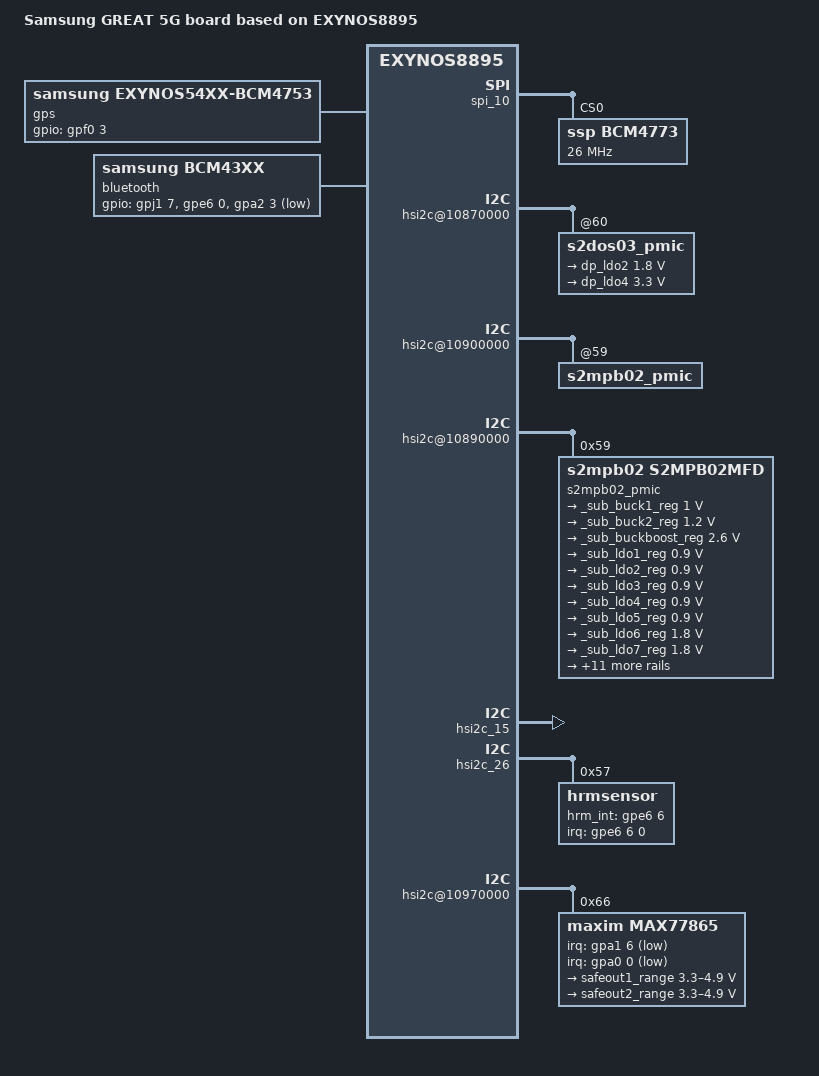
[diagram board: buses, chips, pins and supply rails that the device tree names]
/*
 * SAMSUNG EXYNOS8895 board device tree source
 *
 * Copyright (c) 2016 Samsung Electronics Co., Ltd.
 *		http://www.samsung.com
 *
 * This program is free software; you can redistribute it and/or modify
 * it under the terms of the GNU General Public License version 2 as
 * published by the Free Software Foundation.
 */

/dts-v1/;
#include "exynos8895-great5g_common.dtsi"
#include "battery_data_great5g_common.dtsi"
#include "exynos8895-greatlte_motor.dtsi"
#include "exynos8895-greatlte_svcled.dtsi"
#include "ccic-s2mm005_great_00.dtsi"
#include "exynos8895-greatlte_mst_00.dtsi"
#include "exynos8895-great5g_gpio_kor_00.dtsi"
#include "exynos8895-greatlte_fingerprint-sensor_03.dtsi"

/ {
	model = "Samsung GREAT 5G board based on EXYNOS8895";
	model_info-chip = <8895>;
	model_info-platform = "android";
	model_info-subtype = "samsung";
	model_info-hw_rev = <0>;
	model_info-hw_rev_end = <255>;
	compatible = "samsung, GREAT 5G rev0.0", "samsung,EXYNOS8895";

	pinctrl@164B0000 {
		og_pmic_irq: og-pmic-irq {
			samsung,pins = "gpa3-7";
			samsung,pin-function = <0>;
			samsung,pin-pud = <0>;
			samsung,pin-drv = <0>;
		};
	};

	usi_6: usi@10821010 {
		usi_mode = "hsi2c0_hsi2c1";
		status = "okay";
	};

	spi_8: spi@10880000 {
		/delete-node/ ese_spi@0;
	};

	spi_10: spi@108C0000{
		#address-cells = <1>;
		#size-cells = <0>;

		pinctrl-names = "default";
		pinctrl-0 = <&spi1_mosi_sck_ssn &spi1_miso>;

		num-cs = <1>;
		status = "okay";
/*
 *		dma-mode;
 *		dmas = <&pdma0 21 0
 *			&pdma0 20 0>;
 */
		BCM4773@0 {
			compatible = "ssp,BCM4773";
			reg = <0>;
			spi-max-frequency = <26000000>;
			spi-cpol;
			spi-cpha;
			pinctrl-names = "default";
			pinctrl-0 = <&ssp_host_req &ssp_mcu_req &ssp_mcu_resp &ssp_batch_wake_irq>;

			gpio-controller;
			#gpio-cells = <2>;
			ssp-host-req = <&gpa3 4 0x00>;
			ssp-mcu-req = <&gpe6 1 0x00>;
			ssp-mcu-resp = <&gpi1 5 0x00>;
			ssp-batch-wake-irq = <&gpa2 5 0x00>;
			ssp-acc-position = <3>;
			ssp-mag-position = <6>;
			ssp-sns-combination = <0>;
			ssp-ap-rev = <1>;
			ssp-mag-array = /bits/ 8 <27 86 134 13 37 240 254 130 212 54 239 85 40
			28 1 232 244 104 87 121 186 254 211 133 10 77 149>;
			ssp-glass-type = <0>;
			ssp-mag-type = <1>;
			ssp-vdd-mcu-1p8 = "vdd_mcu_1p8";

			controller-data {
				cs-gpio = <&gpe2 6 0>;
				samsung,spi-feedback-delay = <0>;
			};
		};
	};

	gps {
		compatible = "samsung,exynos54xx-bcm4753";

		pinctrl-names = "hub_en";
		pinctrl-0 = <&ssp_gps_pwr_en>;

		gpios = <&gpf0 3 0x0>;
		status = "okay";
	};

	hsi2c@10870000 {
		status = "okay";
		s2dos03_pmic@60 {
			regulators {
				dp_ldo2: s2dos03-ldo2 {
					regulator-name = "HRM_1.8V_AP";
					regulator-min-microvolt = <1800000>;
					regulator-max-microvolt = <1800000>;
				};
				dp_ldo4: s2dos03-ldo4 {
					regulator-name = "HRM_3.3V_AP";
					regulator-min-microvolt = <3300000>;
					regulator-max-microvolt = <3300000>;
				};
			};
		};
	};

	hsi2c@10900000 {
		s2mpb02_pmic@59 {
			regulators {
				_buck2_reg: s2mpb02-buck2 {
					regulator-always-on;
					regulator-boot-on;
				};
			};
		};
	};

	speedy@15B50000{
		status = "okay";
		s2mps17mfd@00 {
			regulators {
				ldo6_reg: LDO6 {
					regulator-name = "vdd_ldo6";
					regulator-min-microvolt = <3100000>;
					regulator-max-microvolt = <3100000>;
					regulator-ramp-delay = <12000>;
				};

				ldo31_reg: LDO31 {
					regulator-name = "VDD_2P6_MUX";
					regulator-min-microvolt = <2600000>;
					regulator-max-microvolt = <2600000>;
					regulator-always-on;
					regulator-initial-mode = <3>;
				};

				ldo38_reg: LDO38 {
					regulator-name = "vdd_mcu_1p8";
					regulator-min-microvolt = <1800000>;
					regulator-max-microvolt = <1800000>;
				};

				ldo37_reg: LDO37 {
					regulator-name = "VDD_DP_1P8";
					regulator-min-microvolt = <1800000>;
					regulator-max-microvolt = <1800000>;
				};
			};
		};
	};

	hsi2c@10890000 {
		status = "okay";
		s2mpb02_pmic@59 {
			compatible = "s2mpb02,s2mpb02mfd";
			reg = <0x59>;

			s2mpb02,wakeup;
			s2mpb02,mfd-cell = "s2mpb02-5g-pmic";
			pinctrl-names = "default";
			pinctrl-0 = <&og_pmic_irq>;

			regulators {
				_sub_buck1_reg: s2mpb02-buck1 {
					regulator-name = "VDD_LLDO_1P0_5G";
					regulator-min-microvolt = <1000000>;
					regulator-max-microvolt = <1000000>;
					regulator-always-on;
					regulator-boot-on;
				};

				_sub_buck2_reg: s2mpb02-buck2 {
					regulator-name = "VDDQ_DDR_1P2_5G";
					regulator-min-microvolt = <1200000>;
					regulator-max-microvolt = <1200000>;
				};

				_sub_buckboost_reg: s2mpb02-bb {
					regulator-name = "VDD_BOOST_2P6_5G";
					regulator-min-microvolt = <2600000>;
					regulator-max-microvolt = <2600000>;
					regulator-always-on;
					regulator-boot-on;
				};

				_sub_ldo1_reg: s2mpb02-ldo1 {
					regulator-name = "VDDA_0P9_5G";
					regulator-min-microvolt = <900000>;
					regulator-max-microvolt = <900000>;
				};

				_sub_ldo2_reg: s2mpb02-ldo2 {
					regulator-name = "VDD_AFE_0P9_5G_L2";
					regulator-min-microvolt = <900000>;
					regulator-max-microvolt = <900000>;
				};

				_sub_ldo3_reg: s2mpb02-ldo3 {
					regulator-name = "VDD_AFE_0P9_5G_L3";
					regulator-min-microvolt = <900000>;
					regulator-max-microvolt = <900000>;
				};

				_sub_ldo4_reg: s2mpb02-ldo4 {
					regulator-name = "VDD_CPU_M_5G";
					regulator-min-microvolt = <900000>;
					regulator-max-microvolt = <900000>;
				};

				_sub_ldo5_reg: s2mpb02-ldo5 {
					regulator-name = "VDD_PCIE_VP_0P9_5G";
					regulator-min-microvolt = <900000>;
					regulator-max-microvolt = <900000>;
				};

				_sub_ldo6_reg: s2mpb02-ldo6 {
					regulator-name = "S2MPB02_SUB_LDO6_5G";
					regulator-min-microvolt = <1800000>;
					regulator-max-microvolt = <1800000>;
				};

				_sub_ldo7_reg: s2mpb02-ldo7 {
					regulator-name = "S2MPB02_SUB_LDO7_5G";
					regulator-min-microvolt = <1800000>;
					regulator-max-microvolt = <1800000>;
				};

				_sub_ldo8_reg: s2mpb02-ldo8 {
					regulator-name = "S2MPB02_SUB_LDO8_5G";
					regulator-min-microvolt = <1800000>;
					regulator-max-microvolt = <1800000>;
				};

				_sub_ldo9_reg: s2mpb02-ldo9 {
					regulator-name = "S2MPB02_SUB_LDO9_5G";
					regulator-min-microvolt = <1800000>;
					regulator-max-microvolt = <1800000>;
				};

				_sub_ldo10_reg: s2mpb02-ldo10 {
					regulator-name = "S2MPB02_SUB_LDO10_5G";
					regulator-min-microvolt = <1800000>;
					regulator-max-microvolt = <1800000>;
				};

				_sub_ldo11_reg: s2mpb02-ldo11 {
					regulator-name = "VDD_IO_1P8_5G";
					regulator-min-microvolt = <1800000>;
					regulator-max-microvolt = <1800000>;
					regulator-always-on;
					regulator-boot-on;
				};

				_sub_ldo12_reg: s2mpb02-ldo12 {
					regulator-name = "S2MPB02_SUB_LDO12_5G";
					regulator-min-microvolt = <1800000>;
					regulator-max-microvolt = <1800000>;
				};

				_sub_ldo13_reg: s2mpb02-ldo13 {
					regulator-name = "VDD_AFE_1P8_5G";
					regulator-min-microvolt = <1800000>;
					regulator-max-microvolt = <1800000>;
				};

				_sub_ldo14_reg: s2mpb02-ldo14 {
					regulator-name = "VDD_EFUSE_1P98_5G";
					regulator-min-microvolt = <1900000>;
					regulator-max-microvolt = <1900000>;
				};

				_sub_ldo15_reg: s2mpb02-ldo15 {
					regulator-name = "VDDA_1P8_5G";
					regulator-min-microvolt = <1800000>;
					regulator-max-microvolt = <1800000>;
				};

				_sub_ldo16_reg: s2mpb02-ldo16 {
					regulator-name = "VDD_DRAM_1P8_5G";
					regulator-min-microvolt = <1800000>;
					regulator-max-microvolt = <1800000>;
				};

				_sub_ldo17_reg: s2mpb02-ldo17 {
					regulator-name = "VDD_PCIE_VPH_1P8_5G";
					regulator-min-microvolt = <1800000>;
					regulator-max-microvolt = <1800000>;
				};

				_sub_ldo18_reg: s2mpb02-ldo18 {
					regulator-name = "VDD_SIM_5G";
					regulator-min-microvolt = <1800000>;
					regulator-max-microvolt = <1800000>;
				};
			};
		};
	};

	hsi2c_15: hsi2c@10860000 {
		status = "okay";
	};

	hsi2c_26: hsi2c@10910000 {
		status = "okay";
		/delete-node/ sec-nfc@27;
		hrmsensor@57 {
			compatible = "hrmsensor";
			reg = <0x57>;
			interrupt-parent = <&gpe6>;
			interrupts = <6 0 0>;
			hrmsensor,hrm_int-gpio = <&gpe6 6 0>;
			pinctrl-names = "default", "sleep", "idle";
			pinctrl-0 = <&hrm_irq>;
			pinctrl-1 = <&hrm_irqsleep>;
			pinctrl-2 = <&hrm_irqidle>;
			hrmsensor,vdd_1p8 = "HRM_1.8V_AP";
			hrmsensor,led_3p3 = "HRM_3.3V_AP";
			hrmsensor,i2c_1p8 = "VDD_NFC_1P8";
		};
	};

	pinctrl@164B0000 {
		max77865_irq: max77865-irq {
			samsung,pins = "gpa1-6";
			samsung,pin-function = <0xf>;
			samsung,pin-pud = <0>;
			samsung,pin-drv = <0>;
		};

		muic_irq: muic-irq {
			samsung,pins = "gpa0-0";
			samsung,pin-pud = <0>;
			samsung,pin-drv = <0>;
		};
	};

	hsi2c@10970000 {
		status = "okay";

		max77865@66 {
			compatible = "maxim,max77865";
			pinctrl-names = "default";
			pinctrl-0 = <&max77865_irq &muic_irq &pwm_tout1>;
			reg = <0x66>;
			max77865,irq-gpio = <&gpa1 6 1>;
			muic-universal,irq-gpio = <&gpa0 0 1>;
			muic-universal,chip_name = "max,max77865";
			max77865,wakeup;
			muic,undefined_range;

			regulators {
				ESAFEOUT1 {
					regulator-compatible = "safeout1";
					regulator-name = "safeout1_range";
					regulator-min-microvolt = <3300000>;
					regulator-max-microvolt = <4900000>;
					regulator-boot-on;
				};

				ESAFEOUT2 {
					regulator-compatible = "safeout2";
					regulator-name = "safeout2_range";
					regulator-min-microvolt = <3300000>;
					regulator-max-microvolt = <4900000>;
				};
			};
		};
	};

	pinctrl@164B0000 {
		dp_irq: dp_irq {
			samsung,pins = "gpa3-1";
			samsung,pin-function = <3>;
			samsung,pin-pud = <0>;
		};
	};

	/* wacom disabled */
	hsi2c_10: hsi2c@10490000 {
		status = "disabled";
	};

	wacom_ldo_en: wacom_ldo_en {
		status = "disabled";
	};

	pinctrl@10980000 {
		bt_btwake2: bt-btwake2 {
			samsung,pins = "gpe6-0";
			samsung,pin-function = <1>;
			samsung,pin-pud = <0>;
		};
	};

	bluetooth {
		compatible = "samsung,bcm43xx";

		gpios = <&gpj1 7 0	/*BT_EN*/
				&gpe6 0 0	/*BT_WAKE*/
				&gpa2 3 0xF	/*BT_HOST_WAKE*/ >;
		pinctrl-names = "default";
		pinctrl-0=<&bt_hostwake &bt_btwake2 &bt_en>;
		status = "okay";
	};

	exynos_pm_dvs {
		vdd_mldo {
			suspend_volt = <1887500>;
		};
	};

	displayport: displayport@0x11090000 {
		dp,aux_sw_oe = <&gpf1 5 0>;
		dp,sbu_sw_sel = <&gpe7 5 0>;
		dp,usb_con_sel = <&gpi1 7 0>;
		/*dp,aux_vdd = "VDD_DP_1P8";*/
		dp,hpd_gpio_irq;

		pinctrl-names = "default";
		pinctrl-0 = <&dp_irq>;
	};
};
